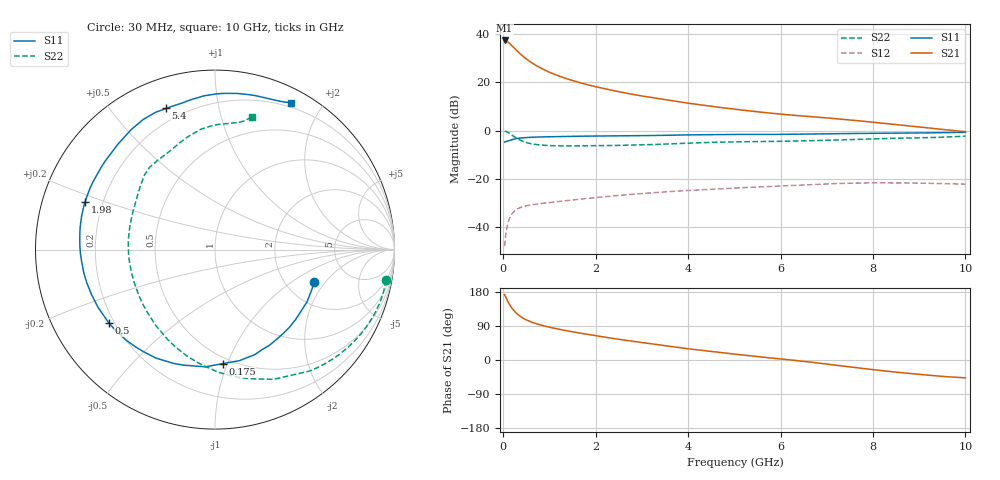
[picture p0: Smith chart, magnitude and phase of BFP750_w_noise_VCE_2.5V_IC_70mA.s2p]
! Infineon Technologies  Discrete & RF Semiconductors
! BFP750
! VCE =  2.5 V,  IC =  70 mA
! Common Emitter S-Parameters:  Jan 2016
# GHz  S  MA  R  50
!  f  S11  S21  S12  S22
! GHz  MAG  ANG  MAG  ANG  MAG  ANG  MAG  ANG
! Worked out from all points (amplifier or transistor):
!   229 points, 30 MHz to 10 GHz, reference 50 ohm
!   highest |S21| = 37.4 dB at 30 MHz (marker M1)
!   |S21| within 3 dB of that: start of sweep to 230.7 MHz
!   unconditionally stable (mu >= 1): 3.588 GHz to end of sweep
!   at 280 MHz: K = 0.19, MSG = 33.1 dB, |S12| = -32.8 dB
!   at 1.78 GHz: K = 0.76, MSG = 23.7 dB, |S12| = -28.2 dB
!   at 10 GHz: K = 1.05, MAG = 9.5 dB, |S12| = -22.2 dB
!   lowest NFmin = 1.24 dB at 450 MHz
!   S11 on the Smith chart (normalised r, x): 30 MHz: 2.86, -1.55; 175 MHz: 0.45, -0.96; 500 MHz: 0.18, -0.30; 1.98 GHz: 0.13, +0.17; 5.4 GHz: 0.14, +0.70; 10 GHz: 0.15, +1.63
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0.03  0.5823 -18.0  74.18 172.3  0.004 84.7  0.9686 -10.2
0.05  0.5897 -29.6  73.75 166.5  0.0065 78.9  0.9652 -17.9
0.07  0.5943 -40.8  72.11 161.4  0.0088 74.0  0.9508 -25.4
0.1  0.6069 -56.0  69.02 154.3  0.0119 67.9  0.9201 -36.1
0.15  0.6335 -77.5  62.85 143.6  0.0162 58.9  0.8573 -52.1
0.175  0.6372 -86.2  59.36 139.4  0.0178 55.1  0.8191 -58.7
0.2  0.6553 -94.7  56.23 134.7  0.0194 52.0  0.7927 -65.8
0.24  0.6672 -105.2  51.45 129.2  0.0213 47.3  0.7437 -75.2
0.3  0.6884 -118.6  45.03 121.6  0.0236 42.0  0.6856 -88.0
0.4  0.7069 -134.3  36.66 112.4  0.026 36.3  0.6133 -104.7
0.5  0.7192 -145.3  30.6 105.7  0.0275 32.7  0.5664 -117.7
0.7  0.7322 -160.1  22.73 96.3  0.0296 29.1  0.5162 -136.4
1  0.7451 -174.0  16.22 86.4  0.0321 27.3  0.4888 -154.7
1.3  0.7551 176.3  12.58 78.8  0.0346 26.9  0.4818 -166.9
1.7  0.766 166.1  9.63 70.1  0.0381 26.5  0.4828 -178.9
1.98  0.7715 159.9  8.227 64.4  0.0406 26.0  0.4854 174.4
3.4  0.795 134.1  4.535 39.5  0.0528 20.2  0.5205 147.2
5.1  0.8329 112.4  2.715 14.3  0.0648 10.4  0.5865 127.2
5.4  0.8327 109.1  2.516 10.3  0.0668 8.4  0.5899 123.8
6.8  0.853 96.1  1.898 -7.7  0.077 -1.5  0.6225 109.2
8.4  0.8843 77.3  1.363 -30.7  0.0825 -17.0  0.6906 91.4
10  0.9224 62.6  0.949 -47.1  0.0775 -28.7  0.7673 74.4
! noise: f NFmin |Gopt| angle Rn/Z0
0.45  1.24  0.23  -168  0.46
0.9  1.26  0.33  -162  0.18
1.5  1.28  0.43  -155  0.09
1.9  1.29  0.45  -149  0.08
2.4  1.29  0.45  -142  0.1
3.5  1.53  0.45  -126  0.13
